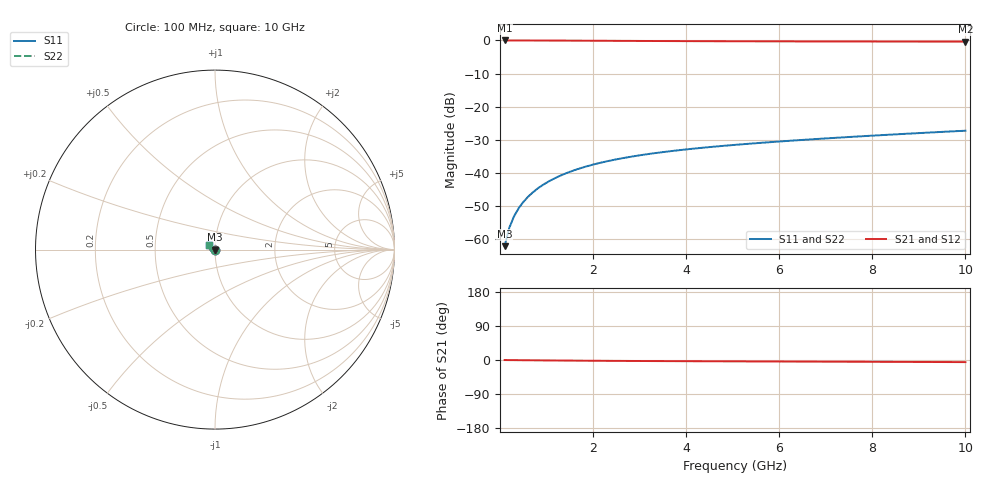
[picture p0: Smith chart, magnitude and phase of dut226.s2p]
! Touchstone file exported from HFSS 2024.1.0
!  File:  C:/UserFiles/LocalFiles/RDL_TSV_Batchsim/temp_TSV1_226_1779388374.aedt
!  Generated:  02:38:47 AM May 22, 2026
!  Design:  TSV1
!  Project:  temp_TSV1_226_1779388374
!  Setup:  Setup1
!  Solution:  Sweep
! Variables:
!  dtsv = 7.03um
!  hbump = 3um
!  htsv = 81.23um
!  lrdl = 252.1521522um
!  p = 40
!  p1 = 58.65um
!  t = 500um
!  trdl = 3um
!  wrdl = 24.89489489um
# GHz S MA R 50.000000
! Terminal data exported
! Port[1] = TSV22_T1
! Port[2] = TSV22_T2
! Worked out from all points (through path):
!   100 points, 100 MHz to 10 GHz, reference 50 ohm
!   highest |S21| = 0.00 dB at 100 MHz (marker M1); lowest = -0.4 dB at 10 GHz (marker M2)
!   lowest |S11| = -62.1 dB at 100 MHz (marker M3), VSWR 1.00, Z = 50 - j0.0739 ohm
!   |S11| at or under -10 dB: start of sweep to end of sweep
!   |S22| runs from -62.1 to -27.3 dB; largest |S21 - S12| = 3.1e-15
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0.1  0.0007834 -70.5  0.9997 -0.1  0.9997 -0.1  0.0007834 -70.5
! Gamma 0 0 0 0
! Port Impedance 50 0 50 0
0.2  0.001482 -83.5  0.9996 -0.2  0.9996 -0.2  0.001482 -83.5
0.3  0.002196 -89.7  0.9994 -0.3  0.9994 -0.3  0.002196 -89.7
0.4  0.002913 -94.0  0.9992 -0.5  0.9992 -0.5  0.002913 -94.0
0.5  0.003627 -97.6  0.9989 -0.6  0.9989 -0.6  0.003627 -97.6
0.6  0.004338 -100.8  0.9985 -0.7  0.9985 -0.7  0.004338 -100.8
0.7  0.005043 -103.7  0.9981 -0.8  0.9981 -0.8  0.005043 -103.7
0.8  0.005742 -106.4  0.9977 -0.9  0.9977 -0.9  0.005742 -106.4
0.9  0.006434 -109.1  0.9972 -1.0  0.9972 -1.0  0.006434 -109.1
1.1  0.00779 -114.1  0.9961 -1.2  0.9961 -1.2  0.00779 -114.1
1.4  0.009748 -121.2  0.9942 -1.5  0.9942 -1.5  0.009748 -121.2
1.6  0.011 -125.7  0.9928 -1.7  0.9928 -1.7  0.011 -125.7
1.8  0.0122 -130.0  0.9914 -1.8  0.9914 -1.8  0.0122 -130.0
2.1  0.0139 -136.1  0.9892 -2.1  0.9892 -2.1  0.0139 -136.1
2.5  0.01602 -143.8  0.9862 -2.3  0.9862 -2.3  0.01602 -143.8
2.9  0.01796 -150.8  0.9833 -2.6  0.9833 -2.6  0.01796 -150.8
3.4  0.02019 -158.9  0.9801 -2.9  0.9801 -2.9  0.02019 -158.9
4.2  0.0234 -170.3  0.9755 -3.2  0.9755 -3.2  0.0234 -170.3
5.1  0.02669 178.9  0.9715 -3.6  0.9715 -3.6  0.02669 178.9
6.7  0.03216 163.5  0.9664 -4.3  0.9664 -4.3  0.03216 163.5
8.4  0.03788 151.2  0.9628 -4.9  0.9628 -4.9  0.03787 151.2
10  0.04337 142.2  0.9604 -5.6  0.9604 -5.6  0.04337 142.2
